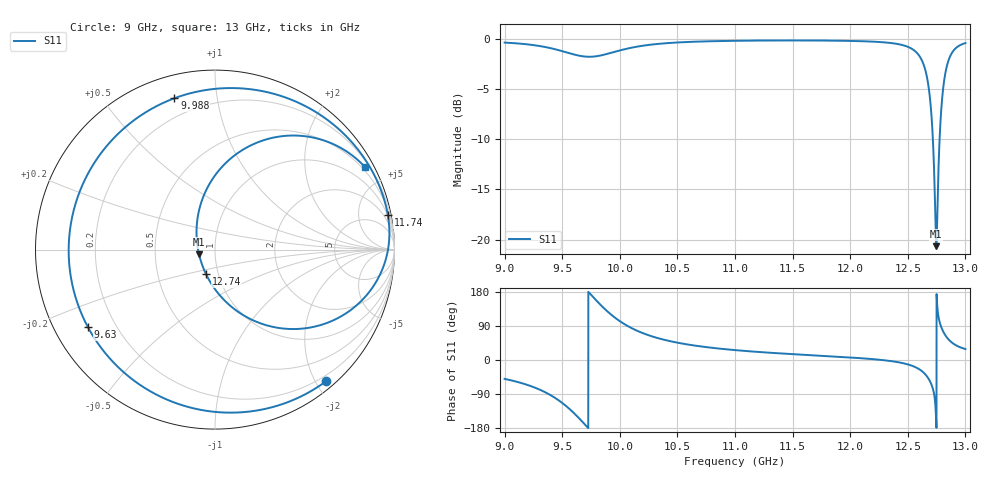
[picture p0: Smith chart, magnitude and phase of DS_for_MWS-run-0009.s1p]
! TOUCHSTONE file generated by CST DESIGN STUDIO
! Date and time: Wed Feb  5 13:32:20 2025
! Project name: C:\Work\MatlabApps\UnitCellOptimizationMatlab\CST\unitcell.cst
! Tree item: Tasks\Sweep1\SPara1\S-Parameters
! Header version: 2024
! Port assignment regex: !\s*Touchstone port\s*([0-9]+)\s*=\s*(CST MWS port|CST DES external port|CST DES block port)\s*(.+)\s* \(\"(.*)\"\)(\s*mode\s*([0-9]+))?.*
! Touchstone port assignment:
! Touchstone port 1 = CST DES external port 1 ("")
# GHz S MA R 50
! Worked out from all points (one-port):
!   4001 points, 9 GHz to 13 GHz, reference 50 ohm
!   lowest |S11| = -20.7 dB at 12.75 GHz (marker M1), VSWR 1.20, Z = 41.8 - j2.12 ohm
!   |S11| at or under -10 dB: 12.7177 GHz to 12.77597 GHz (58.27 MHz wide, 0.457 % of centre)
!   S11 on the Smith chart (normalised r, x): 9 GHz: 0.12, -2.15; 9.63 GHz: 0.10, -0.28; 9.988 GHz: 0.11, +0.76; 11.74 GHz: 1, +10; 12.74 GHz: 0.87, -0.24; 13 GHz: 0.38, +3.85
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9  0.9594 -49.9
9.263  0.9299 -72.9
9.397  0.9005 -92.4
9.5  0.8696 -113.3
9.63  0.8294 -148.6
9.707  0.8163 -173.5
9.782  0.8181 161.6
9.886  0.8413 130.0
9.988  0.873 105.0
10  0.8767 102.5
10.227  0.9301 67.8
10.5  0.9605 45.7
11  0.9792 26.1
11.5  0.9831 15.4
11.739  0.9821 11.3
12  0.9779 6.7
12.308  0.9605 -1.1
12.5  0.914 -11.6
12.6  0.8238 -24.5
12.669  0.6337 -44.3
12.706  0.4118 -65.2
12.737  0.1456 -110.1
12.747  0.09267 -164.2
12.76  0.1652 128.1
12.791  0.4491 86.5
12.829  0.6898 63.8
12.901  0.881 42.0
13  0.9537 28.9
